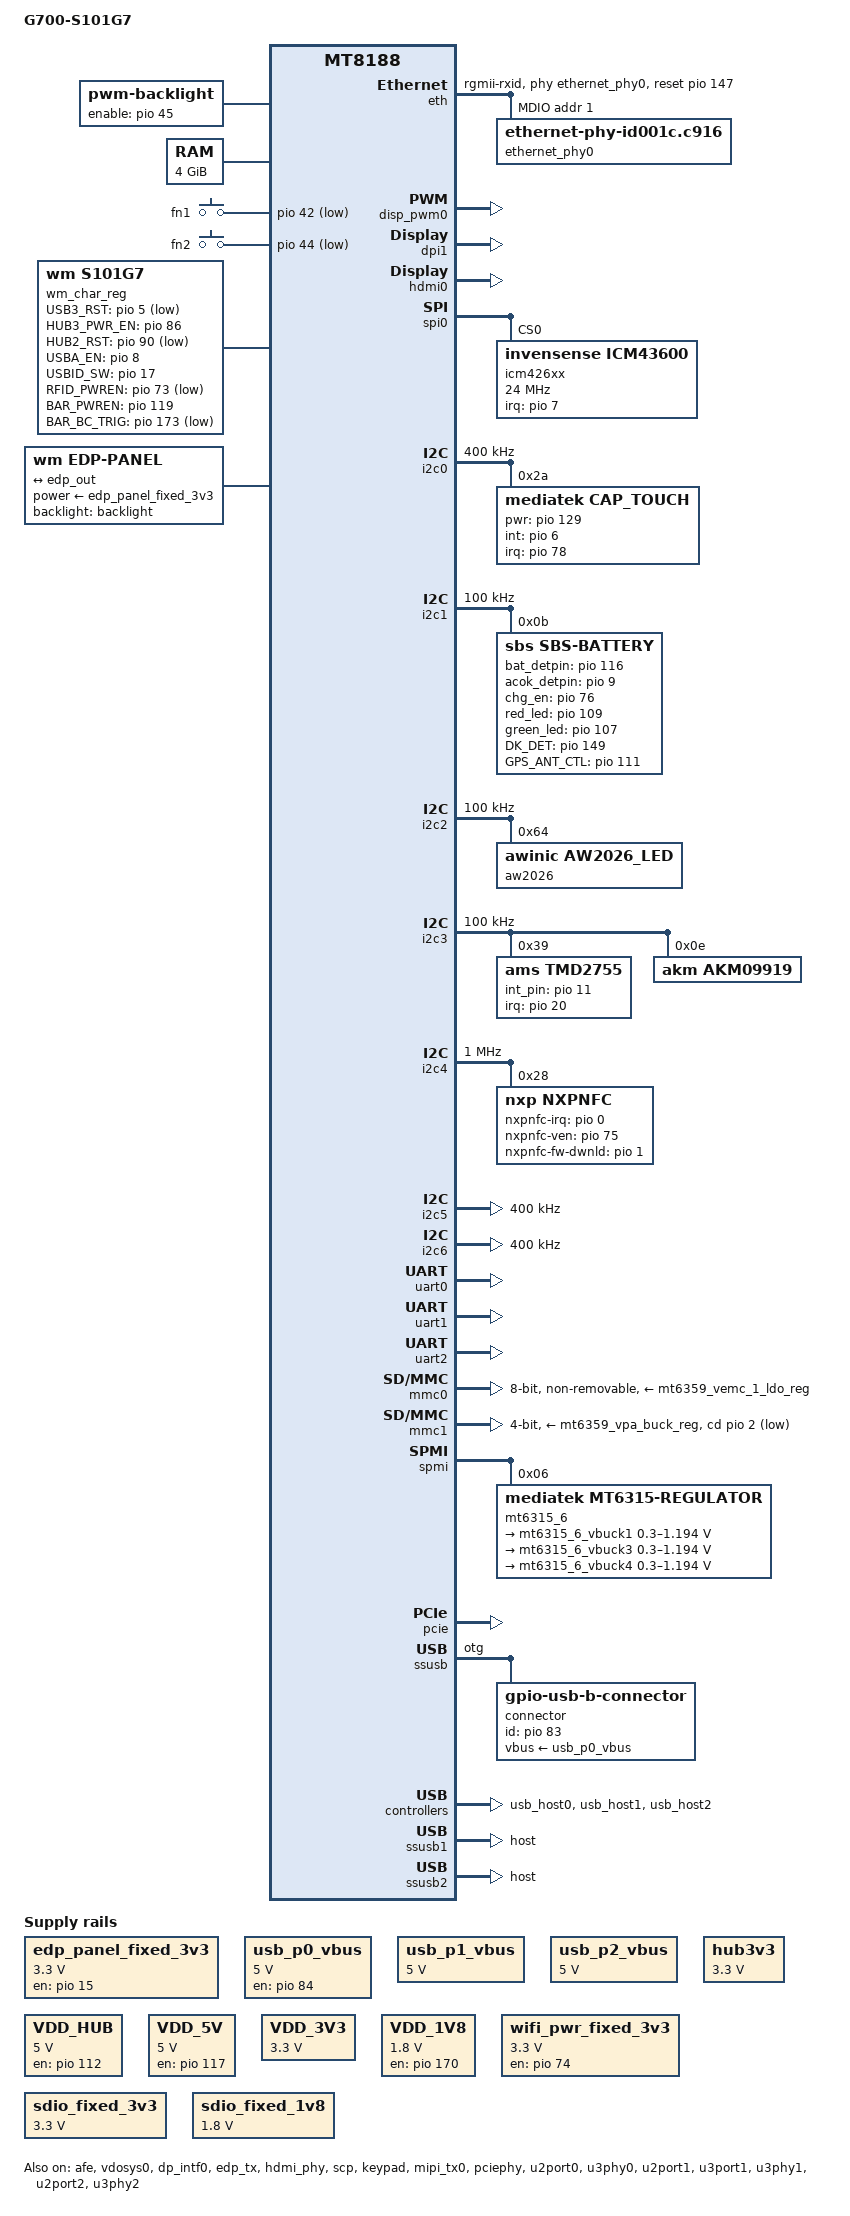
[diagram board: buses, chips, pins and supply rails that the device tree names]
// SPDX-License-Identifier: (GPL-2.0 OR MIT)
/*
 * Copyright (C) 2022 MediaTek Inc.
 * Author: Chris Chen <chris-qj.chen@mediatek.com>
 */
/dts-v1/;
#include "mt8188.dtsi"
#include "mt6359.dtsi"
#include <dt-bindings/gpio/gpio.h>
#include <dt-bindings/input/input.h>
#include <dt-bindings/interrupt-controller/irq.h>
#include <dt-bindings/pinctrl/mediatek,mt8188-pinfunc.h>
#include <dt-bindings/usb/pd.h>
#include <dt-bindings/panel/paneltype.h>

#define DEF_GPIO_HIGH 	1
#define DEF_GPIO_LOW 	0

/ {
	model = "G700-S101G7";
	compatible = "mediatek,mt8390-evk", "mediatek,mt8188";

	aliases {
		serial0 = &uart0;
		dsi0 = &dsi0;
		ethernet0 = &eth;
	};

	backlight: backlight {
		compatible = "pwm-backlight";
		pinctrl-names = "default";
		pinctrl-0 = <&panel_bl_pin_cfg>;
		enable-gpios = <&pio 45 GPIO_ACTIVE_HIGH>;
		brightness-levels = <40 1023>;
		num-interpolated-steps = <1023>;
		default-brightness-level = <576>;
		enable-active-high;
		status = "okay";
	};

	chosen {
		stdout-path = "serial0:921600n8";
	};

	edp_panel_fixed_3v3: regulator@0 {
		compatible = "regulator-fixed";
		regulator-name = "edp_panel_3v3";
		regulator-min-microvolt = <3300000>;
		regulator-max-microvolt = <3300000>;
		enable-active-high;
		gpio = <&pio 15 GPIO_ACTIVE_HIGH>; //lcm_panel
		pinctrl-names = "default";
		pinctrl-0 = <&edp_panel_3v3_en_pins>;
	};

	memory@40000000 {
		device_type = "memory";
		reg = <0 0x40000000 0x1 0x00000000>;//ram size--> 0x2: 8G 0x1:4G
	};

	reserved-memory {
		#address-cells = <2>;
		#size-cells = <2>;
		ranges;

		apu_reserve_memory: apu-reserve-memory{
			compatible = "shared-dma-pool";
			size = <0 0x1400000>; //20 MB
			alignment = <0 0x10000>;
			reg = <0 0x55000000 0 0x1400000>;
		};

		vpu_reserve_memory: vpu-reserve-memory {
			compatible = "shared-dma-pool";
			size = <0 0x1400000>; //20 MB
			alignment = <0 0x10000>;
			reg = <0 0x57000000 0 0x1400000>;
		};

		/* 12 MiB reserved for OP-TEE (BL32)
		 * +-----------------------+ 0x43e0_0000
		 * |      SHMEM 2MiB       |
		 * +-----------------------+ 0x43c0_0000
		 * |        | TA_RAM  8MiB |
		 * + TZDRAM +--------------+ 0x4340_0000
		 * |        | TEE_RAM 2MiB |
		 * +-----------------------+ 0x4320_0000
		 */
		optee_reserved: optee@43200000 {
			no-map;
			reg = <0 0x43200000 0 0x00c00000>;
		};

		scp_mem_reserved: scp-mem-region {
			compatible = "shared-dma-pool";
			reg = <0 0x50000000 0 0x2900000>;
			no-map;
		};

		/* 2 MiB reserved for ARM Trusted Firmware (BL31) */
		bl31_secmon_reserved: secmon@54600000 {
			no-map;
			reg = <0 0x54600000 0x0 0x200000>;
		};
	};

	gpio-keys {
		compatible = "gpio-keys";
		input-name = "gpio-keys";
		pinctrl-names = "default";
		pinctrl-0 = <&gpio_keys>;
		status = "okay";

		fn1 {
			gpios = <&pio 42 GPIO_ACTIVE_LOW>;
			label = "fn1";
			linux,code = <114>;
			debounce-interval = <15>;
		};
		
		fn2 {
			gpios = <&pio 44 GPIO_ACTIVE_LOW>;
			label = "fn2";
			linux,code = <115>;
			debounce-interval = <15>;
		};

	};

	firmware {
		optee {
			compatible = "linaro,optee-tz";
			method = "smc";
		};
	};

	usb_p0_vbus: usb0-otg-vbus {
		compatible = "regulator-fixed";
		regulator-name = "p0_vbus";
		regulator-min-microvolt = <5000000>;
		regulator-max-microvolt = <5000000>;
		gpio = <&pio 84 GPIO_ACTIVE_HIGH>;
		enable-active-high;
	};

	usb_p1_vbus: usb-p1-vbus {
		compatible = "regulator-fixed";
		regulator-name = "p1_vbus";
		regulator-min-microvolt = <5000000>;
		regulator-max-microvolt = <5000000>;
		enable-active-high;
	};

	usb_p2_vbus: usb-p2-vbus {
		compatible = "regulator-fixed";
		regulator-name = "p2_vbus";
		regulator-min-microvolt = <5000000>;
		regulator-max-microvolt = <5000000>;
		enable-active-high;
	};

	hub3v3: regulator@4 {
		compatible = "regulator-fixed";
		regulator-name = "vhub3v3";
		regulator-min-microvolt = <3300000>;
		regulator-max-microvolt = <3300000>;
	//	gpio = <&pio 112 0>; /* HUB_3V3_EN */
		startup-delay-us = <10000>;
		enable-active-high;
	};

	
	VDD_HUB: VDD-HUB {
		compatible = "regulator-fixed";
		regulator-name = "VDD-HUB";
		regulator-min-microvolt = <5000000>;
		regulator-max-microvolt = <5000000>;
		gpio = <&pio 112 GPIO_ACTIVE_HIGH>; //HUB_PWR_EN
		enable-active-high;
		regulator-always-on;
	};

	VDD_5V: VDD-5V {
		compatible = "regulator-fixed";
		regulator-name = "VDD-5V";
		regulator-min-microvolt = <5000000>;
		regulator-max-microvolt = <5000000>;
		gpio = <&pio 117 GPIO_ACTIVE_HIGH>;
		enable-active-high;
		regulator-always-on;
	};

	VDD_3V3: VDD-3V3 {
		compatible = "regulator-fixed";
		regulator-name = "VDD-3V3";
		regulator-min-microvolt = <3300000>;
		regulator-max-microvolt = <3300000>;
	//	gpio = <&pio 10 GPIO_ACTIVE_HIGH>;
		enable-active-high;
		regulator-always-on;
	};

	VDD_1V8: VDD-1V8 {
		compatible = "regulator-fixed";
		regulator-name = "VDD-1V8";
		regulator-min-microvolt = <1800000>;
		regulator-max-microvolt = <1800000>;
		gpio = <&pio 170 GPIO_ACTIVE_HIGH>; 
		startup-delay-us = <10000>;
		enable-active-high;
		regulator-always-on;
	};
	
	wifi_pwr_fixed_3v3: wifi-pwr-fixed-3v3 {
        	compatible = "regulator-fixed";
	        regulator-name = "wifi_pwr_fixed_3v3";
	        regulator-min-microvolt = <3300000>;
	        regulator-max-microvolt = <3300000>;
        	gpio = <&pio 74 GPIO_ACTIVE_HIGH>; //WIFI_3V3_EN 
	        enable-active-high;
	        regulator-always-on;
	};

	sdio_fixed_3v3: regulator@2 {
		compatible = "regulator-fixed";
		regulator-name = "sdio_card";
		regulator-min-microvolt = <3300000>;
		regulator-max-microvolt = <3300000>;
		//gpio = <&pio 74 GPIO_ACTIVE_HIGH>; /* WIFI_3V3_EN */
		enable-active-high;
		regulator-always-on;
	};

	sdio_fixed_1v8: regulator@3 {
		compatible = "regulator-fixed";
		regulator-name = "sdio_io";
		regulator-min-microvolt = <1800000>;
		regulator-max-microvolt = <1800000>;
		enable-active-high;
		regulator-always-on;
	};

	wm_char_reg: wm_char_reg {
		compatible	= "wm,s101g7";
		pinctrl-names	= "default";
		pinctrl-0	= <&wm_char_pins>;
		pinctrl-1   = <&wm_char_test>;

		USB3_RST		= <&pio 5 GPIO_ACTIVE_LOW>;		// HUB3_RST  h: rst l:normal
		HUB3_PWR_EN		= <&pio 86 GPIO_ACTIVE_HIGH>;	// HUB3_PWR 
		HUB2_RST		= <&pio 90 GPIO_ACTIVE_LOW>;	// HUB2_RST  h: rst l:normal

		USBA_EN			= <&pio 8 GPIO_ACTIVE_HIGH>;	// USBA_EN
		USBID_SW		= <&pio 17 GPIO_ACTIVE_HIGH>;	// GPIO17_USBID_SW
		RFID_PWREN		= <&pio 73 GPIO_ACTIVE_LOW>;	// RFID_PWREN

		BAR_PWREN       = <&pio 119 GPIO_ACTIVE_HIGH>;  //GPIO119 BAR_PWREN
		BAR_BC_TRIG		= <&pio 173 GPIO_ACTIVE_LOW>;
		USB_SWITCH1		= <&pio 114 GPIO_ACTIVE_HIGH>;	// GPIO114_USB_SWITCH1
		USB_SWITCH2		= <&pio 115 GPIO_ACTIVE_HIGH>;	// GPIO115_USB_SWITCH2
		
		CAM_F_EN        = <&pio 12 GPIO_ACTIVE_HIGH>;  // CAM_FRONT_DVDD_EN
		CAM_R_EN        = <&pio 26 GPIO_ACTIVE_HIGH>;  // CAM_REAR_DVDD_EN
		//DK_DET          = <&pio 149 GPIO_ACTIVE_LOW>; //to Battery code,for solve irq err
		//GPS_ANT_CTL     = <&pio 111 GPIO_ACTIVE_LOW>; //to Battery code,for solve irq err
		GPS_EN          = <&pio 110 GPIO_ACTIVE_LOW>;
	/*===========================LTE PIN Set===========================*/
		WWAN_DIS			= <&pio 14 GPIO_ACTIVE_HIGH>;	// WWAN_DIS#
		WWAN_DPR			= <&pio 77 GPIO_ACTIVE_HIGH>;	// WWAN_DPR
		WAKE_ON_WAN			= <&pio 78 GPIO_ACTIVE_HIGH>;	// WAKE_ON_WAN#
		POWER_ON_OFF_5G		= <&pio 87 GPIO_ACTIVE_HIGH>;	// POWER_ON_OFF_5G
		FULL_CARD_PWR_OFF_R	= <&pio 89 GPIO_ACTIVE_HIGH>;	// FULL_CARD_PWR_OFF#_R
		RESET_5G			= <&pio 113 GPIO_ACTIVE_HIGH>;	// RESET#_5G

		status		= "okay";
	};	

	panel:panel@wm {
		compatible = "wm,edp-panel";
		power-supply = <&edp_panel_fixed_3v3>;
		status = "okay";
		backlight = <&backlight>;
		port {
			panel_edp_in: endpoint {
				remote-endpoint = <&edp_out>;
			};
		};
	};

};

&afe {
	compatible = "mediatek,mt8188-afe";
	#sound-dai-cells = <0>;
	mediatek,dmic-iir-on;
	mediatek,dmic-clk-mono;
	status = "okay";
};

&eth {
	phy-mode ="rgmii-rxid";
	phy-handle = <&ethernet_phy0>;
	snps,reset-gpio = <&pio 147 GPIO_ACTIVE_HIGH>;
	snps,reset-delay-us = <0 10000 10000>;
	mediatek,tx-delay-ps = <2030>;
	mediatek,mac-wol;
	pinctrl-names = "default", "sleep";
	pinctrl-0 = <&eth_default_pins>;
	pinctrl-1 = <&eth_sleep_pins>;
	status = "okay";

	mdio {
		compatible = "snps,dwmac-mdio";
		#address-cells = <1>;
		#size-cells = <0>;
		ethernet_phy0: ethernet-phy@1 {
			compatible = "ethernet-phy-id001c.c916";
			reg = <0x1>;
		};
	};
};

&vdosys0{
	status = "okay";
};

&disp_pwm0 {
	pinctrl-names = "default";
	pinctrl-0 = <&pwm0_gpio_def_cfg>;
	status = "okay";
};

&dp_intf0 {
	status = "okay";
	ports {
		port {
			dp_intf0_out: endpoint {
				remote-endpoint = <&edp_in>;
			};
		};
	};
};


&edp_tx {
	#address-cells = <1>;
	#size-cells = <0>;
	pinctrl-names = "default";
	pinctrl-0 = <&edp_gpio_def_cfg>;
	status = "okay";

	ports {
		#address-cells = <1>;
		#size-cells = <0>;
		port@0 {
			reg = <0>;
			edp_in: endpoint {
				remote-endpoint = <&dp_intf0_out>;
			};
		};
		port@1 {
			reg = <1>;
			edp_out: endpoint {
				remote-endpoint = <&panel_edp_in>;
			};
		};
	};
};

&dmic_codec {
	compatible = "dmic-codec";
	wakeup-delay-ms = <200>;
};

&dpi1 {
	status = "okay";
};

&hdmi_phy {
	status = "okay";
};


&hdmi0 {
	status = "okay";
};

&pio {
	aud_pins_default: audiodefault {
		pins-cmd-dat {
			pinmux = <PINMUX_GPIO101__FUNC_O_AUD_CLK_MOSI>,
				 <PINMUX_GPIO102__FUNC_O_AUD_SYNC_MOSI>,
				 <PINMUX_GPIO103__FUNC_O_AUD_DAT_MOSI0>,
				 <PINMUX_GPIO104__FUNC_O_AUD_DAT_MOSI1>,
				 <PINMUX_GPIO105__FUNC_I0_AUD_DAT_MISO0>,
				 <PINMUX_GPIO106__FUNC_I0_AUD_DAT_MISO1>,
				 <PINMUX_GPIO121__FUNC_B0_PCM_CLK>,
				 <PINMUX_GPIO122__FUNC_B0_PCM_SYNC>,
				 <PINMUX_GPIO123__FUNC_O_PCM_DO>,
				 <PINMUX_GPIO124__FUNC_I0_PCM_DI>,
				 <PINMUX_GPIO125__FUNC_O_DMIC1_CLK>,
				 <PINMUX_GPIO126__FUNC_I0_DMIC1_DAT>;
		};

		pin_amp_ctrl{
			pinmux = <PINMUX_GPIO13__FUNC_B_GPIO13>;	// spk1_en ctrl amp 
			bias-pull-up;
			output-high;
		
		};
	};

	gpio_keys: gpio_keys {
		pins_gpio {
			pinmux = <PINMUX_GPIO44__FUNC_B1_KPROW0>,
					<PINMUX_GPIO42__FUNC_B1_KPCOL0>;
			bias-pull-up = <MTK_PUPD_SET_R1R0_11>;
		};
	};

	pwm0_gpio_def_cfg: pwm0default {
		pins_cmd_dat {
			pinmux = <PINMUX_GPIO29__FUNC_O_DISP_PWM0>;	// DISP_PWM0
			output-high;
		};
	};

	edp_panel_3v3_en_pins: edp-panel-3v3-en-pins {
		pins1 {
			pinmux = <PINMUX_GPIO15__FUNC_B_GPIO15>;
			output-high;
		};
	};

	panel_bl_pin_cfg: panel_bl_pin_cfg {
		pins1 {
			pinmux = <PINMUX_GPIO45__FUNC_B_GPIO45>;	// LCM_BL_EN
			output-high;
		};
	};

	edp_gpio_def_cfg: edp_gpio_def_cfg {
		pins1 {
			pinmux = <PINMUX_GPIO28__FUNC_I0_EDP_TX_HPD>;
		};
	};

	eth_default_pins: eth-default-pins {
		pins-txd {
			pinmux = <PINMUX_GPIO131__FUNC_O_GBE_TXD3>,
				 <PINMUX_GPIO132__FUNC_O_GBE_TXD2>,
				 <PINMUX_GPIO133__FUNC_O_GBE_TXD1>,
				 <PINMUX_GPIO134__FUNC_O_GBE_TXD0>;
			drive-strength = <MTK_DRIVE_8mA>;
		};
		pins-cc {
			pinmux = <PINMUX_GPIO139__FUNC_B0_GBE_TXC>,
				 <PINMUX_GPIO142__FUNC_O_GBE_TXEN>,
				 <PINMUX_GPIO141__FUNC_I0_GBE_RXDV>,
				 <PINMUX_GPIO140__FUNC_I0_GBE_RXC>;
			drive-strength = <MTK_DRIVE_8mA>;
		};
		pins-rxd {
			pinmux = <PINMUX_GPIO135__FUNC_I0_GBE_RXD3>,
				 <PINMUX_GPIO136__FUNC_I0_GBE_RXD2>,
				 <PINMUX_GPIO137__FUNC_I0_GBE_RXD1>,
				 <PINMUX_GPIO138__FUNC_I0_GBE_RXD0>;
			drive-strength = <MTK_DRIVE_8mA>;
		};
		pins-mdio {
			pinmux = <PINMUX_GPIO143__FUNC_O_GBE_MDC>,
				 <PINMUX_GPIO144__FUNC_B1_GBE_MDIO>;
			drive-strength = <MTK_DRIVE_8mA>;
			input-enable;
		};
		pins-power {
			pinmux = <PINMUX_GPIO145__FUNC_B_GPIO145>,
				 <PINMUX_GPIO146__FUNC_B_GPIO146>;
			output-high;
		};
	};

	eth_sleep_pins: eth-sleep-pins {
		pins-txd {
			pinmux = <PINMUX_GPIO131__FUNC_B_GPIO131>,
				 <PINMUX_GPIO132__FUNC_B_GPIO132>,
				 <PINMUX_GPIO133__FUNC_B_GPIO133>,
				 <PINMUX_GPIO134__FUNC_B_GPIO134>;
		};
		pins-cc {
			pinmux = <PINMUX_GPIO139__FUNC_B_GPIO139>,
				 <PINMUX_GPIO142__FUNC_B_GPIO142>,
				 <PINMUX_GPIO141__FUNC_B_GPIO141>,
				 <PINMUX_GPIO140__FUNC_B_GPIO140>;
		};
		pins-rxd {
			pinmux = <PINMUX_GPIO135__FUNC_B_GPIO135>,
				 <PINMUX_GPIO136__FUNC_B_GPIO136>,
				 <PINMUX_GPIO137__FUNC_B_GPIO137>,
				 <PINMUX_GPIO138__FUNC_B_GPIO138>;
		};
		pins-mdio {
			pinmux = <PINMUX_GPIO143__FUNC_B_GPIO143>,
				 <PINMUX_GPIO144__FUNC_B_GPIO144>;
			input-disable;
			bias-disable;
		};
	};

	uart0_pins: uart0-pins {
		pins {
			pinmux = <PINMUX_GPIO31__FUNC_O_UTXD0>,
				 <PINMUX_GPIO32__FUNC_I1_URXD0>;
			bias-pull-up;
		};
	};

	uart1_pins: uart1-pins {
		pins {
			pinmux = <PINMUX_GPIO33__FUNC_O_UTXD1>,
				 <PINMUX_GPIO34__FUNC_I1_URXD1>;
			bias-pull-up;
		};
	};

	uart2_pins: uart2-pins {
		pins {
			pinmux = <PINMUX_GPIO35__FUNC_O_UTXD2>,
				 <PINMUX_GPIO36__FUNC_I1_URXD2>;
			bias-pull-up;
		};
	};

	i2c0_pin: i2c0-pin {
		pins-bus {
			pinmux = <PINMUX_GPIO56__FUNC_B1_SDA0>,
				 <PINMUX_GPIO55__FUNC_B1_SCL0>;
			bias-pull-up = <MTK_PULL_SET_RSEL_011>;
			mediatek,drive-strength-adv = <7>;
		};
	};

	i2c1_pin: i2c1-pin {
		pins-bus {
			pinmux = <PINMUX_GPIO58__FUNC_B1_SDA1>,
				 <PINMUX_GPIO57__FUNC_B1_SCL1>;
			bias-pull-up = <MTK_PULL_SET_RSEL_011>;
			mediatek,drive-strength-adv = <7>;
		};
	};

	i2c2_pin: i2c2-pin {
		pins-bus {
			pinmux = <PINMUX_GPIO60__FUNC_B1_SDA2>,
				 <PINMUX_GPIO59__FUNC_B1_SCL2>;
			bias-pull-up = <MTK_PULL_SET_RSEL_011>;
			mediatek,drive-strength-adv = <7>;
		};
	};

	i2c3_pin: i2c3-pin {
		pins-bus {
			pinmux = <PINMUX_GPIO62__FUNC_B1_SDA3>,
				 <PINMUX_GPIO61__FUNC_B1_SCL3>;
			bias-pull-up = <MTK_PULL_SET_RSEL_011>;
			mediatek,drive-strength-adv = <7>;
		};
	};

	i2c4_pin: i2c4-pin {
		pins-bus {
			pinmux = <PINMUX_GPIO64__FUNC_B1_SDA4>,
				 <PINMUX_GPIO63__FUNC_B1_SCL4>;
			bias-pull-up = <MTK_PULL_SET_RSEL_011>;
			mediatek,drive-strength-adv = <7>;
		};
	};

	i2c5_pin: i2c5-pin {
		pins-bus {
			pinmux = <PINMUX_GPIO66__FUNC_B1_SDA5>,
				 <PINMUX_GPIO65__FUNC_B1_SCL5>;
			bias-pull-up = <MTK_PULL_SET_RSEL_011>;
			mediatek,drive-strength-adv = <7>;
		};
	};

	i2c6_pin: i2c6-pin {
		pins-bus {
			pinmux = <PINMUX_GPIO68__FUNC_B1_SDA6>,
				 <PINMUX_GPIO67__FUNC_B1_SCL6>;
			bias-pull-up = <MTK_PULL_SET_RSEL_011>;
			mediatek,drive-strength-adv = <7>;
		};
	};
	
	kpd_gpios_def_cfg: keypad-pins-default {
		pins_kp {
			pinmux = <PINMUX_GPIO44__FUNC_B1_KPROW0>,
					<PINMUX_GPIO43__FUNC_B1_KPCOL1>,
					<PINMUX_GPIO42__FUNC_B1_KPCOL0>;
		};
	};

	mmc0_pins_default: mmc0default {
		pins-cmd-dat {
			pinmux = <PINMUX_GPIO161__FUNC_B1_MSDC0_DAT0>,
				 <PINMUX_GPIO160__FUNC_B1_MSDC0_DAT1>,
				 <PINMUX_GPIO159__FUNC_B1_MSDC0_DAT2>,
				 <PINMUX_GPIO158__FUNC_B1_MSDC0_DAT3>,
				 <PINMUX_GPIO154__FUNC_B1_MSDC0_DAT4>,
				 <PINMUX_GPIO153__FUNC_B1_MSDC0_DAT5>,
				 <PINMUX_GPIO152__FUNC_B1_MSDC0_DAT6>,
				 <PINMUX_GPIO151__FUNC_B1_MSDC0_DAT7>,
				 <PINMUX_GPIO156__FUNC_B1_MSDC0_CMD>;
			input-enable;
			drive-strength = <MTK_DRIVE_6mA>;
			bias-pull-up = <MTK_PUPD_SET_R1R0_01>;
		};

		pins-clk {
			pinmux = <PINMUX_GPIO157__FUNC_B1_MSDC0_CLK>;
			drive-strength = <MTK_DRIVE_6mA>;
			bias-pull-down = <MTK_PUPD_SET_R1R0_10>;
		};

		pins-rst {
			pinmux = <PINMUX_GPIO155__FUNC_O_MSDC0_RSTB>;
			drive-strength = <MTK_DRIVE_6mA>;
			bias-pull-up = <MTK_PUPD_SET_R1R0_01>;
		};
	};

	mmc0_pins_uhs: mmc0uhs{
		pins-cmd-dat {
			pinmux = <PINMUX_GPIO161__FUNC_B1_MSDC0_DAT0>,
				 <PINMUX_GPIO160__FUNC_B1_MSDC0_DAT1>,
				 <PINMUX_GPIO159__FUNC_B1_MSDC0_DAT2>,
				 <PINMUX_GPIO158__FUNC_B1_MSDC0_DAT3>,
				 <PINMUX_GPIO154__FUNC_B1_MSDC0_DAT4>,
				 <PINMUX_GPIO153__FUNC_B1_MSDC0_DAT5>,
				 <PINMUX_GPIO152__FUNC_B1_MSDC0_DAT6>,
				 <PINMUX_GPIO151__FUNC_B1_MSDC0_DAT7>,
				 <PINMUX_GPIO156__FUNC_B1_MSDC0_CMD>;
			input-enable;
			drive-strength = <MTK_DRIVE_8mA>;
			bias-pull-up = <MTK_PUPD_SET_R1R0_01>;
		};

		pins-clk {
			pinmux = <PINMUX_GPIO157__FUNC_B1_MSDC0_CLK>;
			drive-strength = <MTK_DRIVE_8mA>;
			bias-pull-down = <MTK_PUPD_SET_R1R0_10>;
		};

		pins-ds {
			pinmux = <PINMUX_GPIO162__FUNC_B0_MSDC0_DSL>;
			drive-strength = <MTK_DRIVE_8mA>;
			bias-pull-down = <MTK_PUPD_SET_R1R0_10>;
		};

		pins-rst {
			pinmux = <PINMUX_GPIO155__FUNC_O_MSDC0_RSTB>;
			drive-strength = <MTK_DRIVE_8mA>;
			bias-pull-up = <MTK_PUPD_SET_R1R0_01>;
		};
	};

	mmc1_pins_default: mmc1default {
		pins-cmd-dat {
			pinmux = <PINMUX_GPIO163__FUNC_B1_MSDC1_CMD>,
				 <PINMUX_GPIO165__FUNC_B1_MSDC1_DAT0>,
				 <PINMUX_GPIO166__FUNC_B1_MSDC1_DAT1>,
				 <PINMUX_GPIO167__FUNC_B1_MSDC1_DAT2>,
				 <PINMUX_GPIO168__FUNC_B1_MSDC1_DAT3>;
			input-enable;
			drive-strength = <MTK_DRIVE_6mA>;
			bias-pull-up = <MTK_PUPD_SET_R1R0_01>;
		};

		pins-clk {
			pinmux = <PINMUX_GPIO164__FUNC_B1_MSDC1_CLK>;
			drive-strength = <MTK_DRIVE_6mA>;
			bias-pull-down = <MTK_PUPD_SET_R1R0_10>;
		};

		pins-insert {
			pinmux = <PINMUX_GPIO2__FUNC_B_GPIO2>;
			bias-pull-up;
		};
	};

	mmc1_pins_uhs: mmc1uhs {
		pins-cmd-dat {
			pinmux = <PINMUX_GPIO163__FUNC_B1_MSDC1_CMD>,
				 <PINMUX_GPIO165__FUNC_B1_MSDC1_DAT0>,
				 <PINMUX_GPIO166__FUNC_B1_MSDC1_DAT1>,
				 <PINMUX_GPIO167__FUNC_B1_MSDC1_DAT2>,
				 <PINMUX_GPIO168__FUNC_B1_MSDC1_DAT3>;
			input-enable;
			drive-strength = <MTK_DRIVE_6mA>;
			bias-pull-up = <MTK_PUPD_SET_R1R0_01>;
		};

		pins-clk {
			pinmux = <PINMUX_GPIO164__FUNC_B1_MSDC1_CLK>;
			drive-strength = <MTK_DRIVE_6mA>;
			bias-pull-down = <MTK_PUPD_SET_R1R0_10>;
		};
	};

	
	wifi_pins_pwrseq: wifipwrseq {
		pins-wifi-enable {
			pinmux = <PINMUX_GPIO127__FUNC_B_GPIO127>;
			output-high;
		};
	};

	pcie_pins_default: pcie-default {
		mux {
			pinmux = <PINMUX_GPIO47__FUNC_I1_WAKEN>,
				 <PINMUX_GPIO48__FUNC_O_PERSTN>,
				 <PINMUX_GPIO49__FUNC_B1_CLKREQN>;
			bias-pull-up;
		};
	};

	usb_default: usbdefault {
		iddig-pin {
			pinmux = <PINMUX_GPIO83__FUNC_B_GPIO83>;
			input-enable;
			bias-pull-up;
		};

		vbus-pins {
			pinmux = <PINMUX_GPIO84__FUNC_O_USB_DRVVBUS>;
			output-high;
		};

		valid-pin {
			pinmux = <PINMUX_GPIO85__FUNC_I0_VBUSVALID>;
			input-enable;
		};
	};

	touch_pins: touchdefault {
		touch_pin_irq: pin-irq {
			pinmux = <PINMUX_GPIO6__FUNC_B_GPIO6>;
			input-enable;
			bias-pull-up;
		};

		touch_pin_pwr: pin-pwr {
			pinmux = <PINMUX_GPIO129__FUNC_B_GPIO129>;
		};
	};

	wm_char_pins: wm_char_pins {
		pins_gpio {
			pinmux = 
					<PINMUX_GPIO5__FUNC_B_GPIO5>,		// USB3_RST
					<PINMUX_GPIO8__FUNC_B_GPIO8>,		// USBA_EN
					<PINMUX_GPIO12__FUNC_B_GPIO12>,		// CAM_FRONT_DVDD_EN
					<PINMUX_GPIO14__FUNC_B_GPIO14>,		// WWAN_DIS#
					<PINMUX_GPIO17__FUNC_B_GPIO17>,		// GPIO17_USBID_SW
					<PINMUX_GPIO26__FUNC_B_GPIO26>,		// CAM_REAR_DVDD_EN
					<PINMUX_GPIO73__FUNC_B_GPIO73>,		// RFID_PWREN
					<PINMUX_GPIO77__FUNC_B_GPIO77>,		// WWAN_DPR
					<PINMUX_GPIO78__FUNC_B_GPIO78>,		// WAKE_ON_WAN#
					<PINMUX_GPIO86__FUNC_B_GPIO86>, 	// HUB3_PWR_EN
					<PINMUX_GPIO87__FUNC_B_GPIO87>,		// POWER_ON_OFF_5G
					<PINMUX_GPIO89__FUNC_B_GPIO89>,		// FULL_CARD_PWR_OFF#_R
					<PINMUX_GPIO90__FUNC_B_GPIO90>,		// HUB2_RST
					<PINMUX_GPIO113__FUNC_B_GPIO113>,	// RESET#_5G
					<PINMUX_GPIO114__FUNC_B_GPIO114>,	// GPIO114_USB_SWITCH1
					<PINMUX_GPIO115__FUNC_B_GPIO115>,	// GPIO115_USB_SWITCH2
					<PINMUX_GPIO110__FUNC_B_GPIO110>,	 // GPS_EN
					<PINMUX_GPIO119__FUNC_B_GPIO119>;	// BAR_PWREN
			bias-pull-up;
		};
	};
	
	wm_char_test: wm_char_test {
		pins_cmd_dat {
			pinmux =  <PINMUX_GPIO173__FUNC_B_GPIO173>;
			bias-pull-up;
		};
	};

	spi0_pins: spi0-pins {
		pins-spi {
			pinmux = <PINMUX_GPIO69__FUNC_O_SPIM0_CSB>,
				<PINMUX_GPIO70__FUNC_O_SPIM0_CLK>,
				<PINMUX_GPIO71__FUNC_B0_SPIM0_MOSI>,
				<PINMUX_GPIO72__FUNC_B0_SPIM0_MISO>;
			bias-disable;
		};
	};

	icm426xx_pins: icm426xx-pins {
		pins-icm426xx {
			pinmux = <PINMUX_GPIO7__FUNC_B_GPIO7>;
			input-enable;
			bias-pull-up;
		};
	};

	tmd2755_pins: tmd2755-pins {
		pins-tmd2755 {
			pinmux = <PINMUX_GPIO11__FUNC_B_GPIO11>;
			input-enable;
			bias-pull-up;
		};
	};

	battery_pin:battery_pin{
		pins-detect {
			pinmux =//<PINMUX_GPIO149__FUNC_B_GPIO149>,	//DK_DET# irq err solve to battery
					<PINMUX_GPIO9__FUNC_B_GPIO9>,		//acok det
					<PINMUX_GPIO116__FUNC_B_GPIO116>;  	//bat det

			input-enable;
			bias-pull-up;
		};
		pins-leds {
			pinmux = <PINMUX_GPIO111__FUNC_B_GPIO111>,//GPS_ANT_CTL irq err solve to battery
					<PINMUX_GPIO107__FUNC_B_GPIO107>,
					<PINMUX_GPIO109__FUNC_B_GPIO109>;
			output-low;
			bias-pull-up;
		};
		pins-charge {
			pinmux =<PINMUX_GPIO76__FUNC_B_GPIO76>;//charge enable
			output-low;
			bias-pull-up;
		};
	};

};


&spi0 {
    pinctrl-names = "default";
    pinctrl-0 = <&spi0_pins>;
    mediatek,pad-select = <0>;

    #address-cells = <1>;
    #size-cells = <0>;
    status = "okay";
	icm426xx@0 {
		compatible = "invensense,icm43600";
		reg = <0>;
        pinctrl-names = "default";
        pinctrl-0 = <&icm426xx_pins>;
 		interrupt-parent = <&pio>;
        interrupts = <7 IRQ_TYPE_EDGE_FALLING>;
		spi-max-frequency = <24000000>;
		/* mount matrix */
		axis_map_x = <0>;
		axis_map_y = <1>;
		axis_map_z = <2>;
		negate_x = <1>;
		negate_y = <1>;
		negate_z = <0>;
		inven,secondary_type = "none";
		inven,aux_type = "none";
		inven,read_only_slave_type = "none";
	};

};

&i2c0 {
	pinctrl-names = "default";
	pinctrl-0 = <&i2c0_pin>;
	clock-frequency = <400000>;
	status = "okay";
    cap_touch@2a {
		compatible = "mediatek,cap_touch";
		reg = <0x2a>;
		pinctrl-names = "default";
		pinctrl-0 = <&touch_pins>;
		interrupt-parent = <&pio>;
		interrupts = <78 IRQ_TYPE_EDGE_FALLING>;
		pwr-gpios = <&pio 129 0>;
		int-gpios = <&pio 6 0>;
		status = "okay";
    };

};

&i2c1 {
	pinctrl-names = "default";
	pinctrl-0 = <&i2c1_pin>;
	clock-frequency = <100000>;
	status = "okay";

	sbs-battery@0b{
		compatible = "sbs,sbs-battery";
		reg = <0x0b>;
		status = "okay";
		pinctrl-names = "default";
		pinctrl-0 = <&battery_pin>;
		sbs,i2c-retry-count = <2>;
		sbs,poll-retry-count = <2>;
		//noCtrlLed;
		Chg_OrangeLed;
		bat_detpin 		= <&pio 116 0>;
		acok_detpin		= <&pio 9 0>; 
		chg_en   		= <&pio 76 0>; 
		red_led   		= <&pio 109 0>; 
		green_led  		= <&pio 107 0>; 
		DK_DET          = <&pio 149 0>;// 
		GPS_ANT_CTL     = <&pio 111 0>;// 
    };

};

&i2c2 {
	pinctrl-names = "default";
	pinctrl-0 = <&i2c2_pin>;
	clock-frequency = <100000>;
	status = "okay";

	aw2026@64 {/* add for breath led. */
		compatible = "awinic,aw2026_led";
		reg = <0x64>;

		aw2026,red {

				aw2026,name = "blue";
				aw2026,id = <0>;
				aw2026,imax = <1>;
				aw2026,led-current = <15>;
				aw2026,max-brightness = <255>;
				aw2026,rise-time-ms = <6>;
				aw2026,hold-time-ms = <0>;
				aw2026,fall-time-ms = <6>;
				aw2026,off-time-ms = <4>;
		};

		aw2026,green {
				aw2026,name = "green";
				aw2026,id = <1>;
				aw2026,imax = <1>;
				aw2026,led-current = <15>;
				aw2026,max-brightness = <255>;
				aw2026,rise-time-ms = <6>;
				aw2026,hold-time-ms = <0>;
				aw2026,fall-time-ms = <6>;
				aw2026,off-time-ms = <4>;
		};
		
		aw2026,blue {
				aw2026,name = "red";
				aw2026,id = <2>;
				aw2026,imax = <1>;
				aw2026,led-current = <15>;
				aw2026,max-brightness = <255>;
				aw2026,rise-time-ms = <0>;
				aw2026,hold-time-ms = <2>;
				aw2026,fall-time-ms = <0>;
				aw2026,off-time-ms = <5>;
		};
	};	


};

&i2c3 {
	pinctrl-names = "default";
	pinctrl-0 = <&i2c3_pin>;
	clock-frequency = <100000>;
	status = "okay";
	tmd2755: tmd2755@39 {
		compatible         = "ams,tmd2755";
		//status 			   = "disabled";
		pinctrl-names = "default";
		pinctrl-0 = <&tmd2755_pins>;
		reg                = <0x39>;     /*0x39 for hardware*/
		interrupt-parent   = <&pio>;
		interrupts         = <20 IRQ_TYPE_LEVEL_LOW>;/*high-to-low trigger*/
		int_pin-gpios	   = <&pio 11 0>; 
		prox_name          = "tmd2755-prox";
		als_name           = "tmd2755-als";
		ppers              = <1>;  /* 0x01 */
		prox_thresh_min    = <1050>;  /* value must reflect apc value */
		prox_thresh_max    = <1600>;  /* value must reflect apc value */
		prox_pulse_cnt     = <15>;
		prox_apc           = <0>;     /* 0 -> APC enabled */
		prox_pulse_len     = <30>;
		prox_gain1         = <2>;     /* 4x */
		prox_gain2         = <3>;     /* 10x */
		poffset            = <(-119)>; /* negative values need parens */
		prox_drive         = <5>;
		prox_time          = <31>;  /* 2816 usec */
		prox_wtime         = <0>;   /* 2.88 ms -> 33.4 ms if pwlong is set */
		/* ------------------------------------------------------------*/
		apers              = <0x02>;
		als_gain           = <8>;
		als_auto_gain      = <1>;
		als_deltap         = <10>;   /* % from current to set thresholds to cause INT */
		als_time           = <0x11>; /* 0x3f 64 integration cycles - 178 ms 65535 max count */
		/* ------------------------------------------------------------*/
		dgf                = <123>;
		ch0_coef0          = <1000>; /* Coeff A */
		ch0_coef1          = <849>;  /* Coeff C */
		ch1_coef0          = <1427>; /* Coeff B */
		ch1_coef1          = <834>;  /* Coeff D */
		coef_scale         = <1000>;
		/* ------------------------------------------------------------*/
	};

	akm09919: akm09919@0e {
		compatible = "akm,akm09919";
		reg = <0x0e>; /* i2c address */
		status = "okay";
		akm,WM_setting=<6>;
		akm,fifo_setting=<1>;
		akm,sdr_setting=<0>;
		akm,its_setting=<0>;
		akm,ibip_setting=<0>;

		akm,measure-freq-hz=<10>;
		akm,timer-period-ms=<100>;
	};

};

&i2c4 {
	pinctrl-names = "default", "default";
	pinctrl-0 = <&i2c4_pin>;
	clock-frequency = <1000000>;
	status = "okay";
	nxpnfc: nxpnfc@28 {
        status = "okay";
        compatible = "nxp,nxpnfc";
        reg = <0x28>;
        nxp,nxpnfc-irq = <&pio 0 0>; //GPIO0_NFC_IRQ
        nxp,nxpnfc-ven = <&pio 75 0>; //GPIO75_NFC_VEN
        nxp,nxpnfc-fw-dwnld = <&pio 1 0>; //NFC_DWL_REQ
    };
};

&i2c5 {
	pinctrl-names = "default";
	pinctrl-0 = <&i2c5_pin>;
	clock-frequency = <400000>;
	status = "okay";
};

&i2c6 {
	pinctrl-names = "default";
	pinctrl-0 = <&i2c6_pin>;
	clock-frequency = <400000>;
	status = "okay";
};

&pmic {
	interrupt-parent = <&pio>;
	interrupts = <222 IRQ_TYPE_LEVEL_HIGH>;

	pmic_key: pmic-key {
		compatible = "mediatek,mt6359-keys";
		mediatek,long-press-mode = <1>;
		power-off-time-sec = <0>;

		power-key{
			linux,keycodes = <116>;
			wakeup-source;
		};

		home-key{
			linux,keycodes = <114>;
		};
	};
};

&scp {
	memory-region = <&scp_mem_reserved>;
	status = "okay";
};

&keypad {
	mediatek,debounce-us = <32000>;
	mediatek,double-keys;
	keypad,num-rows = <1>;
	keypad,num-columns = <2>;
	linux,keymap =
		<MATRIX_KEY(0x00, 0x00, KEY_VOLUMEDOWN)
		 MATRIX_KEY(0x00, 0x01, KEY_VOLUMEUP)>;
	status = "okay";
	pinctrl-names = "default";
	pinctrl-0 = <&kpd_gpios_def_cfg>;
};

&mt6359codec {
	mediatek,mic-type-0 = <1>; /* ACC */
	mediatek,mic-type-1 = <3>; /* DCC */
};

&mt6359_vbbck_ldo_reg {
	regulator-always-on;
};

&mt6359_vcn33_2_bt_ldo_reg {
	regulator-always-on;
};

&mt6359_vcore_buck_reg {
	regulator-always-on;
};

&mt6359_vgpu11_buck_reg {
	regulator-always-on;
};

&mt6359_vpu_buck_reg {
	regulator-always-on;
};

&mt6359_vrf12_ldo_reg {
	regulator-always-on;
};

&mt6359_vufs_ldo_reg {
	regulator-always-on;
};

&uart0 {
	pinctrl-0 = <&uart0_pins>;
	pinctrl-names = "default";
	status = "okay";
};

&uart1 {
	pinctrl-0 = <&uart1_pins>;
	pinctrl-names = "default";
	status = "okay";
};

&uart2 {
	pinctrl-0 = <&uart2_pins>;
	pinctrl-names = "default";
	status = "okay";
};

&mipi_tx0 {
	status = "okay";
};

&mmc0 {
	status = "okay";
	pinctrl-names = "default", "state_uhs";
	pinctrl-0 = <&mmc0_pins_default>;
	pinctrl-1 = <&mmc0_pins_uhs>;
	bus-width = <8>;
	max-frequency = <200000000>;
	cap-mmc-highspeed;
	mmc-hs200-1_8v;
	mmc-hs400-1_8v;
	supports-cqe;
	cap-mmc-hw-reset;
	no-sdio;
	no-sd;
	hs400-ds-delay = <0x1481b>;
	vmmc-supply = <&mt6359_vemc_1_ldo_reg>;
	vqmmc-supply = <&mt6359_vufs_ldo_reg>;
	non-removable;
};

&mmc1 {
	status = "okay";
	pinctrl-names = "default", "state_uhs";
	pinctrl-0 = <&mmc1_pins_default>;
	pinctrl-1 = <&mmc1_pins_uhs>;
	bus-width = <4>;
	max-frequency = <200000000>;
	cap-sd-highspeed;
	sd-uhs-sdr50;
	sd-uhs-sdr104;
	no-mmc;
	no-sdio;
	cd-gpios = <&pio 2 GPIO_ACTIVE_LOW>;
	vmmc-supply = <&mt6359_vpa_buck_reg>;
	vqmmc-supply = <&mt6359_vsim1_ldo_reg>;
};

&mt6359_vpa_buck_reg {
	regulator-max-microvolt = <3100000>;
};

&mt6359_vsim1_ldo_reg {
	regulator-enable-ramp-delay = <480>;
};

&mmc2 {
	status = "disabled";
};

&mt6359_vcn18_ldo_reg {
	regulator-always-on;
};

&spmi {
	mt6315_6: mt6315@6 {
		compatible = "mediatek,mt6315-regulator";
		reg = <0x6 0 0xb 1>;
		regulators {
			mt6315_6_vbuck1: vbuck1 {
				regulator-compatible = "vbuck1";
				regulator-name = "Vbcpu";
				regulator-min-microvolt = <300000>;
				regulator-max-microvolt = <1193750>;
				regulator-enable-ramp-delay = <256>;
				regulator-allowed-modes = <0 1 2>;
				regulator-always-on;
				mtk,combined-regulator = <2>;
			};
			mt6315_6_vbuck3: vbuck3 {
				regulator-compatible = "vbuck3";
				regulator-name = "Vdd2";
				regulator-min-microvolt = <300000>;
				regulator-max-microvolt = <1193750>;
				regulator-enable-ramp-delay = <256>;
				regulator-allowed-modes = <0 1 2>;
				regulator-always-on;
			};
			mt6315_6_vbuck4: vbuck4 {
				regulator-compatible = "vbuck4";
				regulator-name = "Vddq";
				regulator-min-microvolt = <300000>;
				regulator-max-microvolt = <1193750>;
				regulator-enable-ramp-delay = <256>;
				regulator-allowed-modes = <0 1 2>;
				regulator-always-on;
			};
		};
	};
};

&pcie {
	pinctrl-names = "default";
	pinctrl-0 = <&pcie_pins_default>;
	status = "okay";
};

&pciephy {
	status = "okay";
};

&ssusb {
	pinctrl-0 = <&usb_default>;
	pinctrl-names = "default";
	maximum-speed = "high-speed";
	usb-role-switch;
	dr_mode = "otg";
	vusb33-supply = <&mt6359_vusb_ldo_reg>;
	status = "okay";
	wakeup-source;

	connector {
		compatible = "gpio-usb-b-connector", "usb-b-connector";
		type = "micro";
		id-gpios = <&pio 83 GPIO_ACTIVE_HIGH>;
		vbus-supply = <&usb_p0_vbus>;
	};
};

&u2port0 {
	status = "okay";
};

&u3phy0 {
	status = "okay";
};

&usb_host0 {
	vusb33-supply = <&mt6359_vusb_ldo_reg>;
	status = "okay";
};

&ssusb1 {
	vusb33-supply = <&mt6359_vusb_ldo_reg>;
	dr_mode = "host";
	mediatek,usb3-drd;
	//usb-role-switch;
	status = "okay";
	wakeup-source;
};

&u2port1 {
	status = "okay";
};

&u3port1 {
	status = "okay";
};

&u3phy1 {
	status = "okay";
};

&usb_host1 {
	status = "okay";
	vusb33-supply = <&mt6359_vusb_ldo_reg>;
};

&ssusb2 {
	maximum-speed = "high-speed";
	//usb-role-switch;
	dr_mode = "host";
	vusb33-supply = <&mt6359_vusb_ldo_reg>;
	status = "okay";
	wakeup-source;

};

&u2port2 {
	status = "okay";
};

&u3phy2 {
	status = "okay";
};

&usb_host2 {
	status = "okay";
	usb2-lpm-disable;
};

&mfg0 {
	domain-supply = <&mt6359_vproc2_buck_reg>;
};

&sound {
	compatible = "mediatek,mt8390-evk";
	model = "mt8390-evk";
	pinctrl-names = "default";
	pinctrl-0 = <&aud_pins_default>;
	audio-routing =
		"Headphone", "Headphone L",
		"Headphone", "Headphone R",
		"AIN1", "Headset Mic",
		"DMIC_INPUT", "AP DMIC",
		"AP DMIC", "AUDGLB",
		"AP DMIC", "MIC_BIAS_0",
		"AP DMIC", "MIC_BIAS_2";
	status = "okay";

	dai-link-0 {
		sound-dai = <&afe>;
		dai-link-name = "ADDA_BE";
		status = "okay";

		codec-0 {
			sound-dai = <&pmic 0>;
		};

		codec-1 {
			sound-dai = <&dmic_codec>;
		};
	};

	dai-link-1 {
		sound-dai = <&afe>;
		dai-link-name = "ETDM3_OUT_BE";
		status = "okay";

		codec-0 {
			sound-dai = <&hdmi0>;
		};
	};

	dai-link-2 {
		sound-dai = <&afe>;
		dai-link-name = "DPTX_BE";
		status = "disabled";

		codec-0 {
			sound-dai = <&dp_tx>;
		};
	};
};

&cam_vcore {
	domain-supply = <&mt6359_vproc1_buck_reg>;
};

&img_vcore {
	domain-supply = <&mt6359_vproc1_buck_reg>;
};
